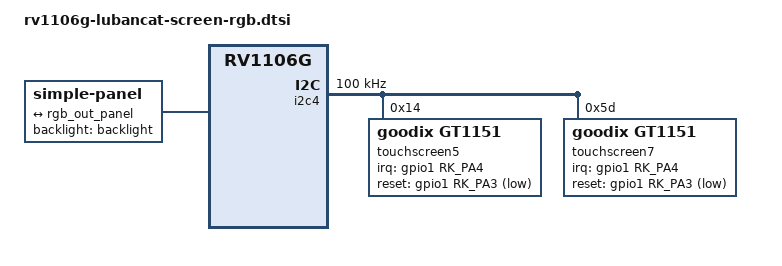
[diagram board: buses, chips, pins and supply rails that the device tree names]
// SPDX-License-Identifier: (GPL-2.0+ OR MIT)
/*
 * Copyright (c) 2023 Rockchip Electronics Co., Ltd.
 */

#include <dt-bindings/input/input.h>
#include <dt-bindings/display/media-bus-format.h>

/ {
	panel: panel {
		compatible = "simple-panel";
		status = "okay";
		backlight = <&backlight>;
		bus-format = <MEDIA_BUS_FMT_RGB666_1X18>;
        // enable-gpios = <&gpio0 RK_PA6 GPIO_ACTIVE_HIGH>;
        // enable-delay-ms = <20>;

		display-timings {
			native-mode = <&timing0>;

			timing0: timing0 {
				clock-frequency = <33708000>;
				hactive = <800>;
				vactive = <480>;
				hback-porch = <46>;
				hfront-porch = <210>;
				vback-porch = <23>;
				vfront-porch = <22>;
				hsync-len = <4>;
				vsync-len = <5>; //value range <2~22>
				hsync-active = <0>;
				vsync-active = <0>;
				de-active = <0>;
				pixelclk-active = <1>;
			};

			timing1: timing1 {
				clock-frequency = <5670000>;
				hactive = <800>;
				vactive = <480>;
				hback-porch = <46>;
				hfront-porch = <200>;
				vback-porch = <23>;
				vfront-porch = <32>;
				hsync-len = <4>;
				vsync-len = <5>; //value range <2~22>
				hsync-active = <0>;
				vsync-active = <0>;
				de-active = <0>;
				pixelclk-active = <0>;
			};
		};

		port {
			panel_in_rgb: endpoint {
				remote-endpoint = <&rgb_out_panel>;
			};
		};
	};
};

&i2c4 {
    status = "okay";
    clock-frequency = <100000>;
    pinctrl-names = "default";
    pinctrl-0 = <&i2c4m2_xfer>;

	touchscreen5@14 {
		compatible = "goodix,gt1151";
		reg = <0x14>;
		interrupt-parent = <&gpio1>;
		interrupts = <RK_PA4 IRQ_TYPE_LEVEL_LOW>;
		irq-gpios = <&gpio1 RK_PA4 GPIO_ACTIVE_HIGH>;
		reset-gpios = <&gpio1 RK_PA3 GPIO_ACTIVE_LOW>;
	};

	touchscreen7@5d {
		compatible = "goodix,gt1151";
		reg = <0x5d>;
		interrupt-parent = <&gpio1>;
		interrupts = <RK_PA4 IRQ_TYPE_LEVEL_LOW>;
		irq-gpios = <&gpio1 RK_PA4 GPIO_ACTIVE_HIGH>;
		reset-gpios = <&gpio1 RK_PA3 GPIO_ACTIVE_LOW>;
	};
};

